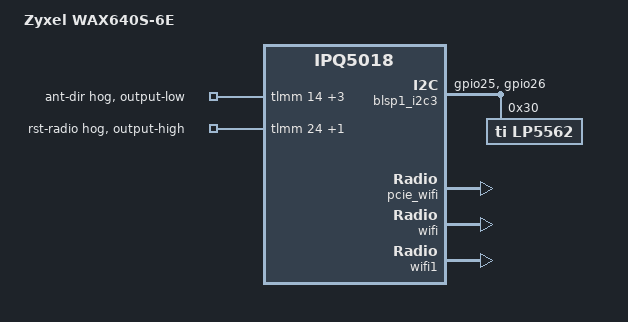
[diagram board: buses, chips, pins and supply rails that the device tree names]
// SPDX-License-Identifier: GPL-2.0-or-later OR MIT

/dts-v1/;

#include "ipq5018-zyxel-6e.dtsi"
#include "ipq5018-qcn6122.dtsi"

/ {
	model = "Zyxel WAX640S-6E";
	compatible = "zyxel,wax640s-6e", "qcom,ipq5018";
};

&blsp1_i2c3 {
	status = "okay";

	pinctrl-0 = <&i2c_pins>;
	pinctrl-names = "default";

	lp5562@30 {
		compatible = "ti,lp5562";
		reg = <0x30>;
		clock-mode = [02];
		#address-cells = <1>;
		#size-cells = <0>;

		led_status_red: led@0 {
			reg = <0>;
			chan-name = "lp5562_red";
			led-cur = [20];
			max-cur = [60];
			color = <LED_COLOR_ID_RED>;
			function = LED_FUNCTION_STATUS;
		};

		led_status_green: led@1 {
			reg = <1>;
			chan-name = "lp5562_green";
			led-cur = [20];
			max-cur = [60];
			color = <LED_COLOR_ID_GREEN>;
			function = LED_FUNCTION_STATUS;
		};

		led_status_blue: led@2 {
			reg = <2>;
			chan-name = "lp5562_blue";
			led-cur = [20];
			max-cur = [60];
			color = <LED_COLOR_ID_BLUE>;
			function = LED_FUNCTION_STATUS;
		};

		led_status_white: led@3 {
			reg = <3>;
			chan-name = "lp5562_white";
			led-cur = [20];
			max-cur = [60];
			color = <LED_COLOR_ID_WHITE>;
			function = LED_FUNCTION_STATUS;
		};
	};
};

&tlmm {
	i2c_pins: i2c-state {
		pins = "gpio25", "gpio26";
		function = "blsp2_i2c1";
		drive-strength = <8>;
		bias-disable;
	};

	/* antenna direction select, all low as set up by the vendor firmware */
	ant-dir-hog {
		gpio-hog;
		gpios = <14 GPIO_ACTIVE_HIGH>,
			<16 GPIO_ACTIVE_HIGH>,
			<17 GPIO_ACTIVE_HIGH>,
			<19 GPIO_ACTIVE_HIGH>;
		output-low;
		line-name = "ant-dir";
	};

	rst-radio-hog {
		gpio-hog;
		gpios = <24 GPIO_ACTIVE_HIGH>,
			<40 GPIO_ACTIVE_HIGH>;
		output-high;
		line-name = "rst-radio";
	};
};

&pcie_wifi {
	qcom,ath11k-calibration-variant = "Zyxel-WAX640S-6E";

	ieee80211-freq-limit = <5945000 7125000>;
};

&q6v5_wcss {
	/* QCN6102: PCIe1, user PD 2, reset GPIO18 */
	boot-args = <0x2 4 2 18 0 0>;
};

&wifi {
	status = "okay";

	qcom,rproc = <&q6_wcss_pd1>;
	qcom,userpd-subsys-name = "q6v5_wcss_userpd1";
	qcom,ath11k-calibration-variant = "Zyxel-WAX640S-6E";
	qcom,ath11k-fw-memory-mode = <1>;
	qcom,bdf-addr = <0x4c400000>;
};

&wifi1 {
	status = "okay";

	qcom,rproc = <&q6_wcss_pd2>;
	qcom,userpd-subsys-name = "q6v5_wcss_userpd2";
	qcom,ath11k-calibration-variant = "Zyxel-WAX640S-6E";
	qcom,ath11k-fw-memory-mode = <1>;
	qcom,bdf-addr = <0x4d100000>;
	qcom,m3-dump-addr = <0x4df00000>;
};
